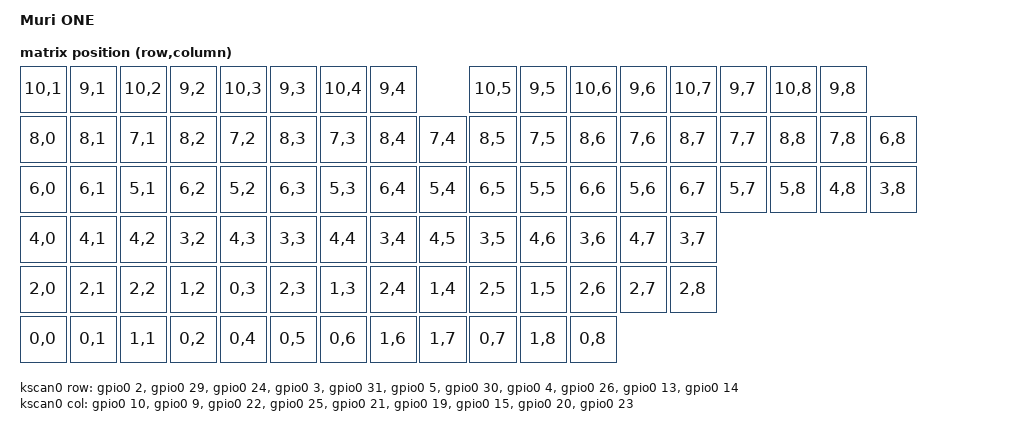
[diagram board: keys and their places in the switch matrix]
/**
 * Copyright (c) 2021 Kuba Birecki
 *
 * SPDX-License-Identifier: MIT
 */

/dts-v1/;
#include <nordic/nrf52840_qiaa.dtsi>
#include <animation.dtsi>

#include <dt-bindings/zmk/matrix_transform.h>
#include <dt-bindings/zmk/issi_transform.h>

#include <dt-bindings/zmk/animation.h>
#include <dt-bindings/zmk/animation_compose.h>

#include "muri_one_animation_zones.h"

/ {
	model = "Muri ONE";

	chosen {
		zephyr,code-partition = &code_partition;
		zephyr,sram = &sram0;
		zephyr,flash = &flash0;
		zephyr,i2c0 = &i2c0;
		zmk,kscan = &kscan0;
		zmk,matrix_transform = &default_transform;
		zmk,animation = &root_animation;
	};

	kscan0: kscan_0 {
		compatible = "zmk,kscan-gpio-matrix";
		label = "KSCAN";
		diode-direction = "col2row";

		col-gpios
			= <&gpio0 10 GPIO_ACTIVE_HIGH>
			, <&gpio0 9 GPIO_ACTIVE_HIGH>
			, <&gpio0 22 GPIO_ACTIVE_HIGH>
			, <&gpio0 25 GPIO_ACTIVE_HIGH>
			, <&gpio0 21 GPIO_ACTIVE_HIGH>
			, <&gpio0 19 GPIO_ACTIVE_HIGH>
			, <&gpio0 15 GPIO_ACTIVE_HIGH>
			, <&gpio0 20 GPIO_ACTIVE_HIGH>
			, <&gpio0 23 GPIO_ACTIVE_HIGH>
			;

		row-gpios
			= <&gpio0 2 (GPIO_ACTIVE_HIGH | GPIO_PULL_DOWN)>
			, <&gpio0 29 (GPIO_ACTIVE_HIGH | GPIO_PULL_DOWN)>
			, <&gpio0 24 (GPIO_ACTIVE_HIGH | GPIO_PULL_DOWN)>
			, <&gpio0 3 (GPIO_ACTIVE_HIGH | GPIO_PULL_DOWN)>
			, <&gpio0 31 (GPIO_ACTIVE_HIGH | GPIO_PULL_DOWN)>
			, <&gpio0 5 (GPIO_ACTIVE_HIGH | GPIO_PULL_DOWN)>
			, <&gpio0 30 (GPIO_ACTIVE_HIGH | GPIO_PULL_DOWN)>
			, <&gpio0 4 (GPIO_ACTIVE_HIGH | GPIO_PULL_DOWN)>
			, <&gpio0 26 (GPIO_ACTIVE_HIGH | GPIO_PULL_DOWN)>
			, <&gpio0 13 (GPIO_ACTIVE_HIGH | GPIO_PULL_DOWN)>
			, <&gpio0 14 (GPIO_ACTIVE_HIGH | GPIO_PULL_DOWN)>
			;
	};

	default_transform: keymap_transform_0 {
		compatible = "zmk,matrix-transform";
		columns = <9>;
		rows = <11>;

		map = <
			RC(10,1) RC(9,1) RC(10,2) RC(9,2) RC(10,3) RC(9,3) RC(10,4) RC(9,4) RC(10,5) RC(9,5) RC(10,6) RC(9,6) RC(10,7) RC(9,7) RC(10,8) RC(9,8)
			RC(8,0) RC(8,1) RC(7,1) RC(8,2) RC(7,2) RC(8,3) RC(7,3) RC(8,4) RC(7,4) RC(8,5) RC(7,5) RC(8,6) RC(7,6) RC(8,7) RC(7,7) RC(8,8) RC(7,8) RC(6,8)
			RC(6,0) RC(6,1) RC(5,1) RC(6,2) RC(5,2) RC(6,3) RC(5,3) RC(6,4) RC(5,4) RC(6,5) RC(5,5) RC(6,6) RC(5,6) RC(6,7) RC(5,7) RC(5,8) RC(4,8) RC(3,8)
			RC(4,0) RC(4,1) RC(4,2) RC(3,2) RC(4,3) RC(3,3) RC(4,4) RC(3,4) RC(4,5) RC(3,5) RC(4,6) RC(3,6) RC(4,7) RC(3,7)
			RC(2,0) RC(2,1) RC(2,2) RC(1,2) RC(0,3) RC(2,3) RC(1,3) RC(2,4) RC(1,4) RC(2,5) RC(1,5) RC(2,6) RC(2,7) RC(2,8)
			RC(0,0) RC(0,1) RC(1,1) RC(0,2) RC(0,4) RC(0,5) RC(0,6) RC(1,6) RC(1,7) RC(0,7) RC(1,8) RC(0,8)
		>;
	};

	slider: touch_slider_0 {
		compatible = "zmk,touch_slider";
		sensor = <&slider_sensor>;
	};

	animation {
		compatible = "zmk,animation";
		drivers = <&led_matrix>;

		// Pixels in order defined by &led_matrix
		pixels
			= <&pixel 21 68>
			, <&pixel 48 68>
			, <&pixel 61 68>
			, <&pixel 75 68>
			, <&pixel 89 68>
			, <&pixel 109 68>
			, <&pixel 123 68>
			, <&pixel 136 68>
			, <&pixel 150 68>
			, <&pixel 170 68>
			, <&pixel 184 68>
			, <&pixel 197 68>
			, <&pixel 211 68>
			, <&pixel 227 68>
			, <&pixel 241 68>
			, <&pixel 255 68>
			, <&pixel 0 54>
			, <&pixel 21 54>
			, <&pixel 34 54>
			, <&pixel 48 54>
			, <&pixel 61 54>
			, <&pixel 75 54>
			, <&pixel 89 54>
			, <&pixel 102 54>
			, <&pixel 116 54>
			, <&pixel 129 54>
			, <&pixel 143 54>
			, <&pixel 156 54>
			, <&pixel 170 54>
			, <&pixel 184 54>
			, <&pixel 204 54>
			, <&pixel 227 54>
			, <&pixel 241 54>
			, <&pixel 255 54>
			, <&pixel 0 41>
			, <&pixel 24 41>
			, <&pixel 41 41>
			, <&pixel 55 41>
			, <&pixel 68 41>
			, <&pixel 82 41>
			, <&pixel 95 41>
			, <&pixel 109 41>
			, <&pixel 122 41>
			, <&pixel 136 41>
			, <&pixel 149 41>
			, <&pixel 163 41>
			, <&pixel 176 41>
			, <&pixel 190 41>
			, <&pixel 208 41>
			, <&pixel 227 41>
			, <&pixel 241 41>
			, <&pixel 255 41>
			, <&pixel 0 27>
			, <&pixel 26 27>
			, <&pixel 45 27>
			, <&pixel 58 27>
			, <&pixel 72 27>
			, <&pixel 85 27>
			, <&pixel 99 27>
			, <&pixel 112 27>
			, <&pixel 126 27>
			, <&pixel 139 27>
			, <&pixel 153 27>
			, <&pixel 166 27>
			, <&pixel 180 27>
			, <&pixel 202 27>
			, <&pixel 0 14>
			, <&pixel 29 14>
			, <&pixel 51 14>
			, <&pixel 64 14>
			, <&pixel 78 14>
			, <&pixel 91 14>
			, <&pixel 105 14>
			, <&pixel 118 14>
			, <&pixel 132 14>
			, <&pixel 145 14>
			, <&pixel 159 14>
			, <&pixel 172 14>
			, <&pixel 199 14>
			, <&pixel 241 14>
			, <&pixel 0 0>
			, <&pixel 22 0>
			, <&pixel 39 0>
			, <&pixel 56 0>
			, <&pixel 107 0>
			, <&pixel 158 0>
			, <&pixel 175 0>
			, <&pixel 192 0>
			, <&pixel 209 0>
			, <&pixel 227 0>
			, <&pixel 241 0>
			, <&pixel 255 0>
			, <&pixel 0 0>
			, <&pixel 64 0>
			, <&pixel 128 0>
			, <&pixel 192 0>
			, <&pixel 255 0>
			;
	};

	root_animation: animation_0 {
		compatible = "zmk,animation-control";
		status = "okay";

		label = "ANIMATION_CTRL_0";

		animations = <&combine_zones>;
	};

	combine_zones: animation_1 {
		compatible = "zmk,animation-compose";
		status = "okay";

		animations = <
			&animation_keys
			&effect_ctrl
		>;
	};

	effect_ctrl: animation_2 {
		compatible = "zmk,animation-control";
		status = "okay";

		label = "ANIMATION_CTRL_1";

		animations = <&effect_ripple>;
	};

	effect_ripple: animation_3 {
		compatible = "zmk,animation-ripple";
		status = "okay";

		pixels = <ZONE_KEYS>;
		blending-mode = <BLENDING_MODE_SCREEN>;
		duration = <1000>;
		color = <HSL(0, 0, 100)>;
		ripple-width = <50>;
	};

	animation_keys: animation_4 {
		compatible = "zmk,animation-control";
		status = "okay";

		label = "ANIMATION_CTRL_2";

		animations = <
			&base_animation
			&miami_vice
		>;
	};

	miami_vice: animation_5 {
		compatible = "zmk,animation-compose";
		status = "okay";

		animations = <
			&miami_blue
			&miami_purple
		>;
	};

	miami_blue: animation_6 {
		compatible = "zmk,animation-solid";
		status = "okay";

		pixels = <ZONE_NO_MODIFIERS>;
		colors = <HSL(180, 90, 44)>;
	};

	miami_purple: animation_7 {
		compatible = "zmk,animation-solid";
		status = "okay";

		pixels = <ZONE_MODIFIERS>;
		colors = <HSL(310, 88, 77)>;
	};

	base_animation: animation_17 {
		compatible = "zmk,animation-compose";
		status = "okay";

		animations = <
			&background
			&rainbow_ctrl
		>;
	};

	background: animation_8 {
		compatible = "zmk,animation-solid";
		status = "okay";

		pixels = <ZONE_KEYS>;
		colors = <HSL(236, 30, 50)>;
	};

	rainbow_ctrl: animation_9 {
		compatible = "zmk,animation-control";
		status = "okay";

		label = "ANIMATION_CTRL_3";

		animations = <&rainbow>;
	};

	rainbow: animation_10 {
		compatible = "zmk,animation-compose";
		status = "okay";

		animations = <
			&rainbow_red
			&rainbow_orange
			&rainbow_yellow
			&rainbow_green
			&rainbow_blue
			&rainbow_purple
		>;
	};

	rainbow_red: animation_11 {
		compatible = "zmk,animation-solid";
		status = "okay";

		pixels = <ZONE_ACCENT_0>;
		colors = <HSL(356, 94, 59)>;
	};

	rainbow_orange: animation_12 {
		compatible = "zmk,animation-solid";
		status = "okay";

		pixels = <ZONE_ACCENT_1>;
		colors = <HSL(28, 100, 59)>;
	};

	rainbow_yellow: animation_13 {
		compatible = "zmk,animation-solid";
		status = "okay";

		pixels = <ZONE_ACCENT_2>;
		colors = <HSL(53, 100, 64)>;
	};

	rainbow_green: animation_14 {
		compatible = "zmk,animation-solid";
		status = "okay";

		pixels = <ZONE_ACCENT_3>;
		colors = <HSL(87, 58, 57)>;
	};

	rainbow_blue: animation_15 {
		compatible = "zmk,animation-solid";
		status = "okay";

		pixels = <ZONE_ACCENT_4>;
		colors = <HSL(201, 85, 48)>;
	};

	rainbow_purple: animation_16 {
		compatible = "zmk,animation-solid";
		status = "okay";

		pixels = <ZONE_ACCENT_5>;
		colors = <HSL(275, 63, 51)>;
	};
};

&adc {
	status = "okay";
};

&gpiote {
	status = "okay";
};

&gpio0 {
	status = "okay";
};

&gpio1 {
	status = "okay";
};

&i2c0 {
	compatible = "nordic,nrf-twi";
	status = "okay";
	clock-frequency = <400000>;
	sda-pin = <41>;
	scl-pin = <40>;

	slider_sensor: cy8cmbr3106s@37 {
		compatible = "cypress,cy8cmbr3106s";
		label = "CY8CMBR3106S";
		reg = <0x37>;
		trigger-gpios = <&gpio1 3 (GPIO_ACTIVE_LOW | GPIO_PULL_UP)>;
	};

	led_matrix: is31fl3741@30 {
		compatible = "issi,is31fl3741";
		label = "IS31FL3741";
		reg = <0x30>;
		r-ext = <68>;
		led-max-current = <5>;
		sdb-gpios = <&gpio0 6 (GPIO_ACTIVE_HIGH | GPIO_PULL_DOWN)>;
		chain-length = <97>;

		red-scaling = <255>;
		green-scaling = <96>;
		blue-scaling = <84>;

		map = <
			RGB(SW(7), CS(14), CS(13), CS(15))
			RGB(SW(9), CS(14), CS(13), CS(15))
			RGB(SW(5), CS(14), CS(13), CS(15))
			RGB(SW(4), CS(14), CS(13), CS(15))
			RGB(SW(3), CS(14), CS(13), CS(15))
			RGB(SW(2), CS(14), CS(13), CS(15))
			RGB(SW(1), CS(14), CS(13), CS(15))

			RGB(SW(1), CS(35), CS(34), CS(36))
			RGB(SW(2), CS(35), CS(34), CS(36))
			RGB(SW(3), CS(35), CS(34), CS(36))
			RGB(SW(4), CS(35), CS(34), CS(36))
			RGB(SW(5), CS(35), CS(34), CS(36))
			RGB(SW(9), CS(35), CS(34), CS(36))
			RGB(SW(6), CS(35), CS(34), CS(36))
			RGB(SW(7), CS(35), CS(34), CS(36))
			RGB(SW(8), CS(35), CS(34), CS(36))

			RGB(SW(8), CS(11), CS(12), CS(10))
			RGB(SW(7), CS(11), CS(12), CS(10))
			RGB(SW(6), CS(11), CS(12), CS(10))
			RGB(SW(9), CS(11), CS(12), CS(10))
			RGB(SW(5), CS(11), CS(12), CS(10))
			RGB(SW(4), CS(11), CS(12), CS(10))
			RGB(SW(3), CS(11), CS(12), CS(10))
			RGB(SW(2), CS(11), CS(12), CS(10))
			RGB(SW(1), CS(11), CS(12), CS(10))

			RGB(SW(1), CS(32), CS(33), CS(31))
			RGB(SW(2), CS(32), CS(33), CS(31))
			RGB(SW(3), CS(32), CS(33), CS(31))
			RGB(SW(4), CS(32), CS(33), CS(31))
			RGB(SW(5), CS(32), CS(33), CS(31))
			RGB(SW(9), CS(32), CS(33), CS(31))
			RGB(SW(6), CS(32), CS(33), CS(31))
			RGB(SW(7), CS(32), CS(33), CS(31))
			RGB(SW(8), CS(32), CS(33), CS(31))

			RGB(SW(8), CS(17), CS(16), CS(18))
			RGB(SW(7), CS(17), CS(16), CS(18))
			RGB(SW(6), CS(17), CS(16), CS(18))
			RGB(SW(9), CS(17), CS(16), CS(18))
			RGB(SW(5), CS(17), CS(16), CS(18))
			RGB(SW(4), CS(17), CS(16), CS(18))
			RGB(SW(3), CS(17), CS(16), CS(18))
			RGB(SW(2), CS(17), CS(16), CS(18))
			RGB(SW(1), CS(17), CS(16), CS(18))

			RGB(SW(1), CS(29), CS(30), CS(28))
			RGB(SW(2), CS(29), CS(30), CS(28))
			RGB(SW(3), CS(29), CS(30), CS(28))
			RGB(SW(4), CS(29), CS(30), CS(28))
			RGB(SW(5), CS(29), CS(30), CS(28))
			RGB(SW(9), CS(29), CS(30), CS(28))
			RGB(SW(6), CS(29), CS(30), CS(28))
			RGB(SW(7), CS(29), CS(30), CS(28))
			RGB(SW(8), CS(29), CS(30), CS(28))

			RGB(SW(8), CS(5), CS(6), CS(4))
			RGB(SW(7), CS(5), CS(6), CS(4))
			RGB(SW(9), CS(5), CS(6), CS(4))
			RGB(SW(5), CS(5), CS(6), CS(4))
			RGB(SW(4), CS(5), CS(6), CS(4))
			RGB(SW(3), CS(5), CS(6), CS(4))
			RGB(SW(2), CS(5), CS(6), CS(4))
			RGB(SW(1), CS(5), CS(6), CS(4))

			RGB(SW(1), CS(26), CS(27), CS(25))
			RGB(SW(2), CS(26), CS(27), CS(25))
			RGB(SW(3), CS(26), CS(27), CS(25))
			RGB(SW(4), CS(26), CS(27), CS(25))
			RGB(SW(5), CS(26), CS(27), CS(25))
			RGB(SW(9), CS(26), CS(27), CS(25))

			RGB(SW(8), CS(8), CS(7), CS(9))
			RGB(SW(7), CS(8), CS(7), CS(9))
			RGB(SW(5), CS(8), CS(7), CS(9))
			RGB(SW(4), CS(8), CS(7), CS(9))
			RGB(SW(3), CS(8), CS(7), CS(9))
			RGB(SW(2), CS(8), CS(7), CS(9))
			RGB(SW(1), CS(8), CS(7), CS(9))

			RGB(SW(1), CS(20), CS(19), CS(21))
			RGB(SW(2), CS(20), CS(19), CS(21))
			RGB(SW(3), CS(20), CS(19), CS(21))
			RGB(SW(4), CS(20), CS(19), CS(21))
			RGB(SW(5), CS(20), CS(19), CS(21))
			RGB(SW(9), CS(20), CS(19), CS(21))
			RGB(SW(7), CS(20), CS(19), CS(21))

			RGB(SW(8), CS(2), CS(3), CS(1))
			RGB(SW(7), CS(2), CS(3), CS(1))
			RGB(SW(5), CS(2), CS(3), CS(1))
			RGB(SW(4), CS(2), CS(3), CS(1))
			RGB(SW(2), CS(2), CS(3), CS(1))

			RGB(SW(3), CS(38), CS(37), CS(39))
			RGB(SW(4), CS(38), CS(37), CS(39))
			RGB(SW(5), CS(38), CS(37), CS(39))
			RGB(SW(9), CS(38), CS(37), CS(39))
			RGB(SW(6), CS(38), CS(37), CS(39))
			RGB(SW(7), CS(38), CS(37), CS(39))
			RGB(SW(8), CS(38), CS(37), CS(39))

			RGB(SW(6), CS(26), CS(27), CS(25))
			RGB(SW(6), CS(20), CS(19), CS(21))
			RGB(SW(7), CS(26), CS(27), CS(25))
			RGB(SW(8), CS(20), CS(19), CS(21))
			RGB(SW(8), CS(26), CS(27), CS(25))
		>;
	};
};

&usbd {
	compatible = "nordic,nrf-usbd";
	status = "okay";
};

&flash0 {
	partitions {
		compatible = "fixed-partitions";
		#address-cells = <1>;
		#size-cells = <1>;

		sd_partition: partition@0 {
			label = "softdevice";
			reg = <0x00000000 0x00026000>;
		};
		code_partition: partition@26000 {
			label = "code_partition";
			reg = <0x00026000 0x000c6000>;
		};

		/*
		 * The flash starting at 0x000ec000 and ending at
		 * 0x000f3fff is reserved for use by the application.
		 */

		/*
		 * Storage partition will be used by FCB/LittleFS/NVS
		 * if enabled.
		 */
		storage_partition: partition@ec000 {
			label = "storage";
			reg = <0x000ec000 0x00008000>;
		};

		boot_partition: partition@f4000 {
			label = "adafruit_boot";
			reg = <0x000f4000 0x0000c000>;
		};
	};
};
